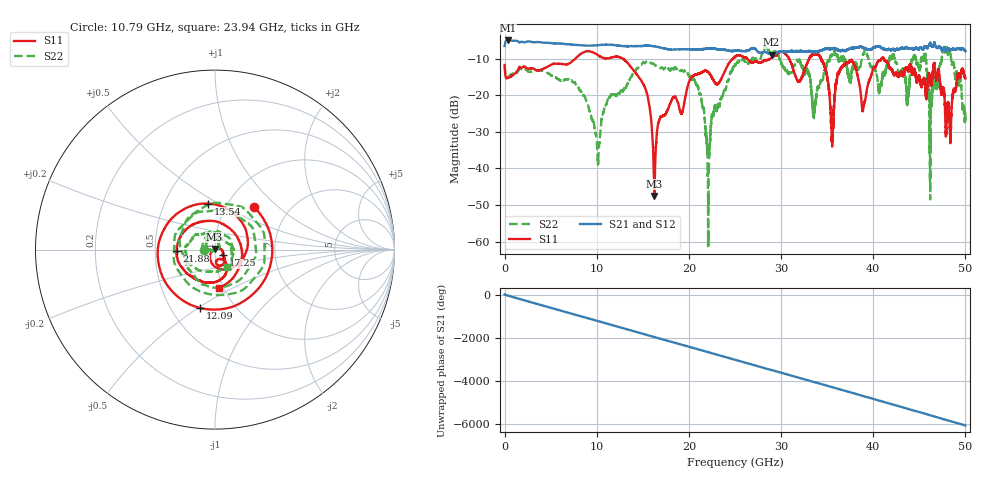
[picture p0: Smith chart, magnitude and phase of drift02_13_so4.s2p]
!Created with skrf (http://scikit-rf.org).
# Hz S RI R 50.0
!freq ReS11 ImS11 ReS21 ImS21 ReS12 ImS12 ReS22 ImS22
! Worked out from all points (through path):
!   10001 points, 300 kHz to 50 GHz, reference 50 ohm
!   highest |S21| = -5.04 dB at 335.3 MHz (marker M1); lowest = -8.9 dB at 28.98 GHz (marker M2)
!   group delay of S21, straight-line fit = 336 ps
!   lowest |S11| = -47.5 dB at 16.25 GHz (marker M3), VSWR 1.01, Z = 49.8 + j0.362 ohm
!   |S11| at or under -10 dB: start of sweep to 7.667 GHz; 12.82 GHz to 24.77 GHz (11.95 GHz wide, 63.6 % of centre); 41.13 GHz to end of sweep (the widest 3 of 12)
!   |S22| runs from -61.2 to -6.8 dB; largest |S21 - S12| = 0.034
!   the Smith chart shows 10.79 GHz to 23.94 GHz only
!   S11 on the Smith chart (normalised r, x): 10.79 GHz: 1.34, +0.71; 12.09 GHz: 0.69, -0.51; 13.54 GHz: 0.82, +0.45; 17.25 GHz: 1.09, -0.07; 21.88 GHz: 0.65, -0.01; 23.94 GHz: 0.95, -0.43
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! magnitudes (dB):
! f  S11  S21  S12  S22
! 300 kHz  -11.8  -6.6  -6.5  -11.8
! 335.3 MHz  -15.3  -5.0  -5.0  -15.1
! 8.335 GHz  -8.6  -6.4  -6.4  -19.1
! 10.11 GHz  -9.0  -6.3  -6.3  -37.5
! 10.79 GHz  -9.9  -6.2  -6.2  -23.9
! 12.09 GHz  -9.5  -6.4  -6.4  -20.2
! 13.54 GHz  -11.7  -6.6  -6.6  -16.0
! 16.25 GHz  -47.5  -6.6  -6.6  -11.6
! 16.67 GHz  -27.6  -6.8  -6.8  -12.2
! 17.25 GHz  -25.4  -7.2  -7.2  -12.8
! 20.74 GHz  -14.3  -7.5  -7.5  -16.8
! 21.88 GHz  -13.4  -7.3  -7.3  -30.7
! 23.94 GHz  -13.3  -7.6  -7.6  -18.7
! 25 GHz  -9.6  -7.9  -7.9  -11.8
! 28.98 GHz  -9.8  -8.9  -8.9  -8.1
! 33.34 GHz  -9.1  -8.0  -8.0  -20.2
! 35.55 GHz  -32.1  -7.3  -7.3  -9.1
! 36.78 GHz  -11.9  -7.9  -7.9  -10.0
! 41.67 GHz  -11.9  -7.4  -7.4  -12.2
! 46.25 GHz  -16.3  -6.1  -6.1  -24.4
! 48.12 GHz  -21.9  -7.2  -7.2  -8.6
! 50 GHz  -15.4  -7.9  -7.9  -24.9
